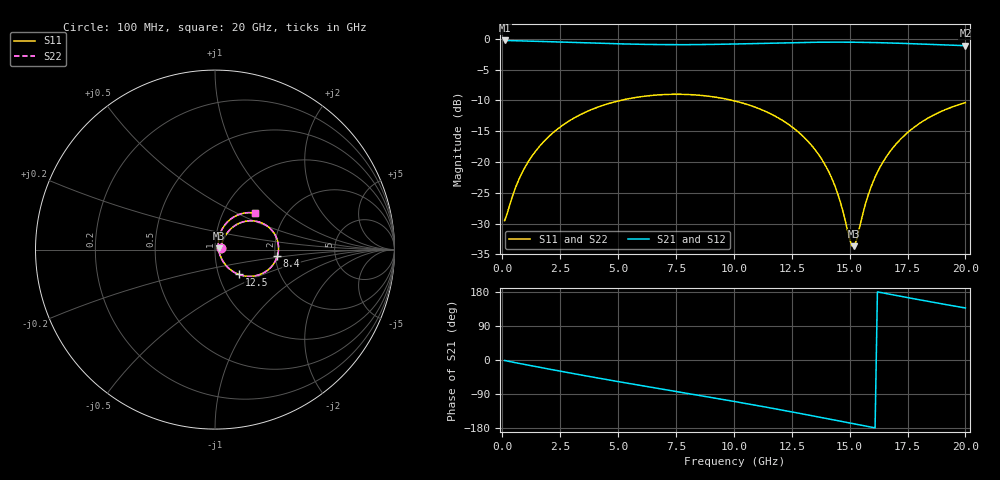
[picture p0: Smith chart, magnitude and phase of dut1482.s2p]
! Touchstone file exported from HFSS 2026.1.0
!  File:  C:/ffzhzh/LocalFiles/Ansys_Project_Files/temp_train_TSV_RDL_1482_1783363300_37376.aedt
!  Generated:  02:49:57 AM Jul  7, 2026
!  Design:  TSV_RDL
!  Project:  temp_train_TSV_RDL_1482_1783363300_37376
! Variables:
!  h_bsmrdl = 2.19um
!  h_ox = 20um
!  h_rdl = 5um
!  h_sub = 64.84um
!  h_tmrdl = 2.67um
!  h_tsv = 64.84um
!  h_via = 3um
!  l_bsmrdl = 329.23um
!  l_sub = 3721.79um
!  l_tmrdl = 560.38um
!  m_sub = 200um
!  pitch = 25.63um
!  r_tsv = 6.99um
!  s_tmrdl = 10um
!  w_bsmrdl = 17.4um
!  w_sub = 500um
!  w_tmrdl = 13.46um
!  x_tsv_center1 = 567.11um
!  x_tsv_center2 = 913.74um
!  x_tsv_center3 = 1487.58um
!  x_tsv_center4 = 1834.21um
!  x_tsv_center5 = 2408.05um
!  x_tsv_center6 = 2754.68um
# GHz S MA R 50.000000
! Terminal data exported
! Port[1] = TM_RDL1_1_T1
! Port[2] = TM_RDL5_1_T1
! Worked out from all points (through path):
!   200 points, 100 MHz to 20 GHz, reference 50 ohm
!   highest |S21| = -0.28 dB at 100 MHz (marker M1); lowest = -1.1 dB at 20 GHz (marker M2)
!   group delay of S21, straight-line fit = 30.7 ps
!   lowest |S11| = -33.7 dB at 15.2 GHz (marker M3), VSWR 1.04, Z = 52 + j0.653 ohm
!   |S11| at or under -10 dB: start of sweep to 5.124 GHz; 9.923 GHz to end of sweep
!   |S22| runs from -34.0 to -9.0 dB; largest |S21 - S12| = 1.9e-14
!   S11 on the Smith chart (normalised r, x): 100 MHz: 1.07, +0.02; 8.4 GHz: 2.05, -0.17; 12.5 GHz: 1.25, -0.36; 20 GHz: 1.42, +0.63
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0.1  0.0334 15.3  0.9679 -1.3  0.9679 -1.3  0.0334 15.3
! Gamma 0 0 0 0
! Port Impedance 50 0 50 0
0.7  0.07087 50.0  0.961 -8.6  0.961 -8.6  0.07088 50.0
1.4  0.1197 53.8  0.9532 -16.8  0.9532 -16.8  0.1197 53.8
2.3  0.1795 49.7  0.943 -27.2  0.943 -27.2  0.1796 49.7
3.5  0.2487 40.1  0.9276 -40.7  0.9276 -40.7  0.2487 40.1
5.1  0.3155 25.4  0.9084 -58.0  0.9084 -58.0  0.3155 25.4
6.8  0.3506 9.2  0.8962 -75.8  0.8962 -75.8  0.3506 9.2
8.4  0.3491 -6.1  0.8959 -92.3  0.8959 -92.3  0.3491 -6.2
10.1  0.3104 -22.7  0.9065 -110.3  0.9065 -110.3  0.3105 -22.8
11.4  0.2555 -35.4  0.9189 -124.5  0.9189 -124.5  0.2555 -35.6
12.5  0.1931 -45.9  0.9292 -136.9  0.9292 -136.9  0.1931 -46.1
13.4  0.1333 -53.2  0.9353 -147.3  0.9353 -147.3  0.1332 -53.5
13.9  0.09766 -55.5  0.9373 -153.2  0.9373 -153.2  0.09756 -56.0
14.3  0.06864 -54.8  0.9379 -157.9  0.9379 -157.9  0.06848 -55.5
14.6  0.0473 -50.0  0.9379 -161.4  0.9379 -161.4  0.04703 -50.9
15  0.02361 -20.3  0.9371 -166.2  0.9371 -166.2  0.02296 -21.4
15.1  0.02083 -2.7  0.9367 -167.3  0.9367 -167.3  0.02007 -3.3
15.2  0.02073 17.6  0.9363 -168.5  0.9363 -168.5  0.01993 17.8
15.9  0.06085 70.1  0.932 -176.8  0.932 -176.8  0.06052 70.8
16.7  0.1184 70.8  0.9241 173.9  0.9241 173.9  0.1182 71.2
18.1  0.2102 59.9  0.9052 157.9  0.9052 157.9  0.2101 60.1
20  0.3027 42.0  0.8779 137.3  0.8779 137.3  0.3025 42.1
